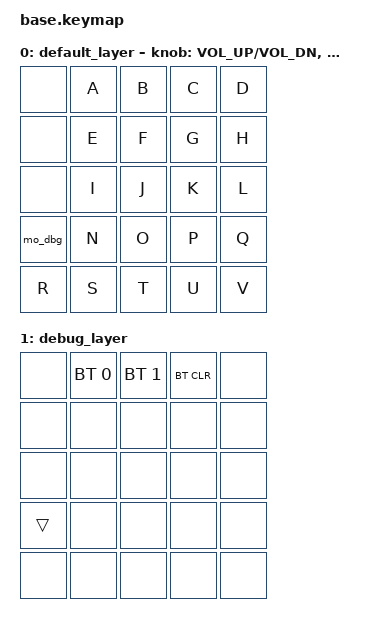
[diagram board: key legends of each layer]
#include <behaviors.dtsi>
#include <dt-bindings/zmk/keys.h>
#include <dt-bindings/zmk/bt.h>

/ {
    // 1. 定义 LED 控制行为
    behaviors {
        led_on: led_on {
            compatible = "zmk,behavior-led-control";
            #binding-cells = <0>;
            led = <&status_led>;
            command = "on";
        };
        led_off: led_off {
            compatible = "zmk,behavior-led-control";
            #binding-cells = <0>;
            led = <&status_led>;
            command = "off";
        };
    };

    // 2. 定义层切换+LED 联动的宏
    macros {
        mo_dbg: mo_dbg {
            compatible = "zmk,behavior-macro";
            #binding-cells = <0>;
            wait-ms = <0>;
            tap-ms = <0>;
            bindings
                = <&macro_press &mo 1 &led_on>   // 按下：进入 Layer 1 并开灯
                , <&macro_pause_for_release>     // 等待松开
                , <&macro_release &mo 1 &led_off> // 松开：离开 Layer 1 并关灯
                ;
        };
    };

    keymap {
        compatible = "zmk,keymap";

        default_layer {
            bindings = <
                /* ROW 0: (0,0)为空 */ &none   &kp A  &kp B  &kp C  &kp D
                /* ROW 1: (1,0)为空 */ &none   &kp E  &kp F  &kp G  &kp H
                /* ROW 2: (2,0)为空 */ &none   &kp I  &kp J  &kp K  &kp L
                /* ROW 3: SW1点击   */ &mo_dbg &kp N  &kp O  &kp P  &kp Q  /* 使用宏代替原本的 &mo 1 */
                /* ROW 4: SW2点击   */ &kp R   &kp S  &kp T  &kp U  &kp V
            >;

            sensor-bindings = <
                &inc_dec_kp C_VOL_UP C_VOL_DN
                &inc_dec_kp PG_UP PG_DN
            >;
        };

        debug_layer {
            bindings = <
                /* 此层开启时，按住旋钮的同时按下 A/B/C */
                &none  &bt BT_SEL 0  &bt BT_SEL 1  &bt BT_CLR  &none
                &none  &none         &none         &none       &none
                &none  &none         &none         &none       &none
                &trans &none         &none         &none       &none
                &none  &none         &none         &none       &none
            >;
        };
    };
};
